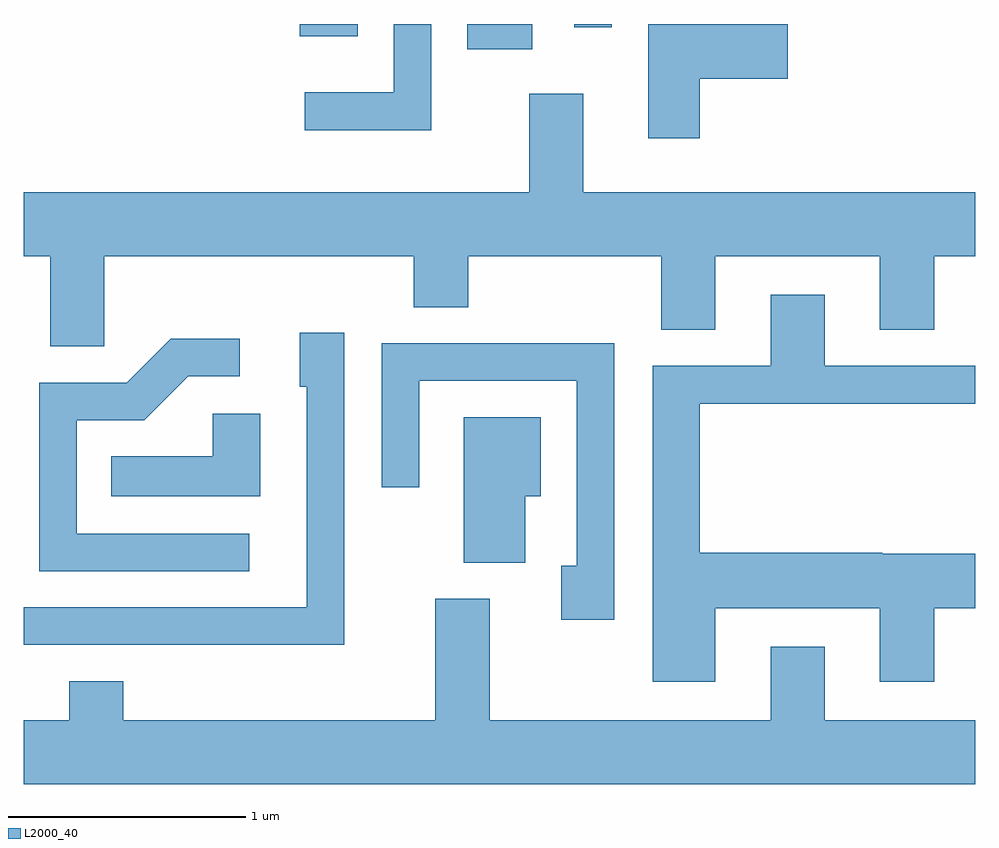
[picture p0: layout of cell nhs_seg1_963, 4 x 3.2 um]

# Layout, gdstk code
import gdstk
lib = gdstk.Library(unit=1e-6, precision=1e-09)
def R(c, l, rs):  # rectangles x0, y0, x1, y1
    for r in rs: c.add(gdstk.rectangle(r[:2], r[2:], *l))
def P(c, l, *ps):  # polygons
    for p in ps: c.add(gdstk.Polygon(p, *l))
L2000_40 = (2000, 40)

nhs_seg1_963 = lib.new_cell('nhs_seg1_963')
R(nhs_seg1_963, L2000_40, [(217.476,851.606,217.749,851.712), (216.771,851.661,217.014,851.712), (217.926,851.698,218.084,851.712)])
P(nhs_seg1_963, L2000_40, [(218.454,851.481),(218.824,851.481),(218.824,851.712),(218.236,851.712),(218.236,851.231),(218.454,851.231)],
  [(217.324,851.712),(217.166,851.712),(217.166,851.424),(216.793,851.424),(216.793,851.266),(217.324,851.266)],
  [(215.949,850.736),(217.251,850.736),(217.251,850.521),(217.479,850.521),(217.479,850.736),(218.291,850.736),(218.291,850.426),(218.519,850.426),(218.519,850.736),(219.211,850.736),(219.211,850.426),(219.439,850.426),(219.439,850.736),(219.611,850.736),(219.611,851.004),(217.964,851.004),(217.964,851.419),(217.736,851.419),(217.736,851.004),(215.611,851.004),(215.611,850.736),(215.721,850.736),(215.721,850.356),(215.949,850.356)],
  [(218.519,849.256),(219.211,849.256),(219.211,848.946),(219.439,848.946),(219.439,849.256),(219.611,849.256),(219.611,849.484),(219.22,849.484),(219.22,849.489),(218.454,849.489),(218.454,850.116),(219.611,850.116),(219.611,850.274),(218.979,850.274),(218.979,850.574),(218.751,850.574),(218.751,850.274),(218.256,850.274),(218.256,848.946),(218.519,848.946)],
  [(216.959,850.414),(216.771,850.414),(216.771,850.186),(216.801,850.186),(216.801,849.259),(215.611,849.259),(215.611,849.101),(216.959,849.101)],
  [(216.558,849.569),(215.834,849.569),(215.834,850.046),(216.117,850.046),(216.302,850.231),(216.518,850.231),(216.518,850.389),(216.229,850.389),(216.044,850.204),(215.676,850.204),(215.676,849.411),(216.558,849.411)],
  [(218.094,850.369),(217.116,850.369),(217.116,849.763),(217.274,849.763),(217.274,850.211),(217.936,850.211),(217.936,849.434),(217.871,849.434),(217.871,849.206),(218.094,849.206)],
  [(216.604,850.074),(216.406,850.074),(216.406,849.894),(215.978,849.894),(215.978,849.726),(216.604,849.726)],
  [(217.719,849.726),(217.784,849.726),(217.784,850.059),(217.461,850.059),(217.461,849.446),(217.719,849.446)],
  [(219.611,848.784),(218.979,848.784),(218.979,849.094),(218.751,849.094),(218.751,848.784),(217.569,848.784),(217.569,849.294),(217.341,849.294),(217.341,848.784),(216.029,848.784),(216.029,848.949),(215.801,848.949),(215.801,848.784),(215.611,848.784),(215.611,848.516),(219.611,848.516)])

lib.write_gds('nhs_seg1_963.gds')
